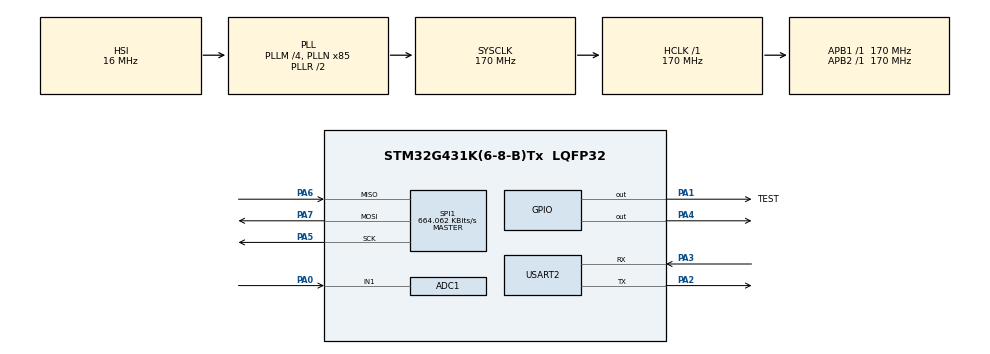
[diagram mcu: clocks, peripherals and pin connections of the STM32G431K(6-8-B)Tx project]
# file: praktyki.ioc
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ADC1.Channel-0\#ChannelRegularConversion=ADC_CHANNEL_1
ADC1.ContinuousConvMode=ENABLE
ADC1.DMAContinuousRequests=ENABLE
ADC1.NbrOfConversionFlag=1
ADC1.OffsetNumber-0\#ChannelRegularConversion=ADC_OFFSET_NONE
ADC1.Rank-0\#ChannelRegularConversion=1
ADC1.SamplingTime-0\#ChannelRegularConversion=ADC_SAMPLETIME_640CYCLES_5
ADC1.master=1
Dma.ADC1.0.Direction=DMA_PERIPH_TO_MEMORY
Dma.ADC1.0.EventEnable=DISABLE
Dma.ADC1.0.Instance=DMA1_Channel1
Dma.ADC1.0.MemDataAlignment=DMA_MDATAALIGN_HALFWORD
Dma.ADC1.0.MemInc=DMA_MINC_DISABLE
Dma.ADC1.0.Mode=DMA_CIRCULAR
Dma.ADC1.0.PeriphDataAlignment=DMA_PDATAALIGN_HALFWORD
Dma.ADC1.0.PeriphInc=DMA_PINC_DISABLE
Dma.ADC1.0.Polarity=HAL_DMAMUX_REQ_GEN_RISING
Dma.ADC1.0.Priority=DMA_PRIORITY_LOW
Dma.ADC1.0.RequestNumber=1
Dma.ADC1.0.SignalID=NONE
Dma.ADC1.0.SyncEnable=DISABLE
Dma.ADC1.0.SyncPolarity=HAL_DMAMUX_SYNC_NO_EVENT
Dma.ADC1.0.SyncRequestNumber=1
Dma.ADC1.0.SyncSignalID=NONE
Dma.Request0=ADC1
Mcu.Family=STM32G4
Mcu.Name=STM32G431K(6-8-B)Tx
Mcu.Package=LQFP32
NVIC.DMA1_Channel1_IRQn=true\:0\:0\:false\:false\:true\:false\:true\:true
NVIC.PriorityGroup=NVIC_PRIORITYGROUP_4
PA0.Signal=SharedAnalog_PA0
PA1.GPIO_Label=TEST
PA1.Signal=GPIO_Output
PA2.Mode=Asynchronous
PA2.Signal=USART2_TX
PA3.Mode=Asynchronous
PA3.Signal=USART2_RX
PA4.Signal=GPIO_Output
PA5.GPIO_Speed=GPIO_SPEED_FREQ_VERY_HIGH
PA5.Mode=Full_Duplex_Master
PA5.Signal=SPI1_SCK
PA6.Mode=Full_Duplex_Master
PA6.Signal=SPI1_MISO
PA7.GPIO_Speed=GPIO_SPEED_FREQ_VERY_HIGH
PA7.Mode=Full_Duplex_Master
PA7.Signal=SPI1_MOSI
ProjectManager.HeapSize=0x200
ProjectManager.StackSize=0x400
ProjectManager.TargetToolchain=STM32CubeIDE
RCC.ADC12Freq_Value=170000000
RCC.AHBFreq_Value=170000000
RCC.APB1Freq_Value=170000000
RCC.APB1TimFreq_Value=170000000
RCC.APB2Freq_Value=170000000
RCC.APB2TimFreq_Value=170000000
RCC.CortexFreq_Value=170000000
RCC.EXTERNAL_CLOCK_VALUE=12288000
RCC.HCLKFreq_Value=170000000
RCC.HSE_VALUE=8000000
RCC.HSI48_VALUE=48000000
RCC.HSI_VALUE=16000000
RCC.LSE_VALUE=32768
RCC.PLLM=RCC_PLLM_DIV4
RCC.PLLN=85
RCC.SYSCLKFreq_VALUE=170000000
RCC.SYSCLKSource=RCC_SYSCLKSOURCE_PLLCLK
RCC.USBFreq_Value=170000000
RCC.VCOOutputFreq_Value=340000000
SH.SharedAnalog_PA0.0=GPIO_Analog
SH.SharedAnalog_PA0.1=ADC1_IN1,IN1-Single-Ended
SPI1.BaudRatePrescaler=SPI_BAUDRATEPRESCALER_256
SPI1.CLKPhase=SPI_PHASE_2EDGE
SPI1.CLKPolarity=SPI_POLARITY_HIGH
SPI1.CalculateBaudRate=664.062 KBits/s
SPI1.DataSize=SPI_DATASIZE_8BIT
SPI1.Direction=SPI_DIRECTION_2LINES
SPI1.Mode=SPI_MODE_MASTER
SPI1.VirtualType=VM_MASTER
USART2.VirtualMode-Asynchronous=VM_ASYNC
VP_CRC_VS_CRC.Mode=CRC_Activate
VP_SYS_VS_DBSignals.Mode=DisableDeadBatterySignals
board=NUCLEO-G431KB

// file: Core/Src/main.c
/* USER CODE BEGIN Header */
/**
  ****************************************************************************
  * @file           : main.c
  * @brief          : Main program body
  ****************************************************************************
  * @attention
  *
  * Copyright (c) 2024 STMicroelectronics.
  * All rights reserved.
  *
  * This software is licensed under terms that can be found in the LICENSE file
  * in the root directory of this software component.
  * If no LICENSE file comes with this software, it is provided AS-IS.
  *
  ****************************************************************************
  */
/* USER CODE END Header */
#include "main.h"

/* USER CODE BEGIN Includes */
#include <stdbool.h>
#include <string.h>
#include <stdio.h>
#include <stdlib.h>

#include "lib_drive.h"
/* USER CODE END Includes */

ADC_HandleTypeDef hadc1;
DMA_HandleTypeDef hdma_adc1;

SPI_HandleTypeDef hspi1;

UART_HandleTypeDef huart2;

/* USER CODE BEGIN PV */
char tab[50];
uint32_t coef = 0;
uint32_t steps = 0;

/* USER CODE END PV */

void SystemClock_Config(void);
static void MX_GPIO_Init(void);
static void MX_DMA_Init(void);
static void MX_SPI1_Init(void);
static void MX_USART2_UART_Init(void);
static void MX_ADC1_Init(void);
static void MX_CRC_Init(void);

int main(void)
{

  /* MCU Configuration--------------------------------------------------------*/

  /* Reset of all peripherals, Initializes the Flash interface and the Systick. */
  HAL_Init();

  /* USER CODE BEGIN Init */
  EE_Init(EE_FORCED_ERASE);
  /* USER CODE END Init */

  /* Configure the system clock */
  SystemClock_Config();

  /* Initialize all configured peripherals */
  MX_GPIO_Init();
  MX_DMA_Init();
  MX_SPI1_Init();
  MX_USART2_UART_Init();
  MX_ADC1_Init();
  MX_CRC_Init();
  /* USER CODE BEGIN 2 */

  Initialisation();
//Run(30, forward);
//  Stop();
  char *ptab = tab;
  uint8_t isAlreadyStopped = 1;

  int adc = 0;
  HAL_ADC_Start_DMA(&hadc1, &adc, 1);

  /* USER CODE END 2 */

  /* Infinite loop */
  while (1)
  {

    /* USER CODE BEGIN 3 */

	  if(adc < 50)
	  {
		  if(isAlreadyStopped == 0)
		  		  {
		  			  //SoftStop
		  	          uint8_t msg1[1] = {0xb0};
		  	          SPI_TransmitWithDelay(&hspi1, msg1, 1, 1000, byte_delay);
		  	          HAL_Delay(2000);
		  	          //HardHiZ
		  	          uint8_t msg2[1] = {0xa8};
		  	          SPI_TransmitWithDelay(&hspi1, msg2, 1, 1000, byte_delay);
		  	          isAlreadyStopped = 1;

		  	          ptab = tab;
		  		  }
		  else
		  {
			  if(HAL_UART_Receive(&huart2, (uint8_t *)ptab, 1, 1000) == HAL_OK){

		            if (*ptab == '\r')
		            {
		                *ptab = '\0';
		                Commands(tab);
		                ptab = tab;
		            }
		            else
		            {
		                ptab++;
		                if (ptab >= tab + sizeof(tab))
		                {
		                    ptab = tab;
		                }
		            }
			  }

		  }
	  }
	  else
	  {
		  HAL_Delay(100);
		  Run(forward, adc*coef*0.01);
		  isAlreadyStopped = 0;

	  }
	  }

  /* USER CODE END 3 */
}

void SystemClock_Config(void)
{
  RCC_OscInitTypeDef RCC_OscInitStruct = {0};
  RCC_ClkInitTypeDef RCC_ClkInitStruct = {0};

  /** Configure the main internal regulator output voltage
  */
  HAL_PWREx_ControlVoltageScaling(PWR_REGULATOR_VOLTAGE_SCALE1_BOOST);

  /** Initializes the RCC Oscillators according to the specified parameters
  * in the RCC_OscInitTypeDef structure.
  */
  RCC_OscInitStruct.OscillatorType = RCC_OSCILLATORTYPE_HSI;
  RCC_OscInitStruct.HSIState = RCC_HSI_ON;
  RCC_OscInitStruct.HSICalibrationValue = RCC_HSICALIBRATION_DEFAULT;
  RCC_OscInitStruct.PLL.PLLState = RCC_PLL_ON;
  RCC_OscInitStruct.PLL.PLLSource = RCC_PLLSOURCE_HSI;
  RCC_OscInitStruct.PLL.PLLM = RCC_PLLM_DIV4;
  RCC_OscInitStruct.PLL.PLLN = 85;
  RCC_OscInitStruct.PLL.PLLP = RCC_PLLP_DIV2;
  RCC_OscInitStruct.PLL.PLLQ = RCC_PLLQ_DIV2;
  RCC_OscInitStruct.PLL.PLLR = RCC_PLLR_DIV2;
  if (HAL_RCC_OscConfig(&RCC_OscInitStruct) != HAL_OK)
  {
    Error_Handler();
  }

  /** Initializes the CPU, AHB and APB buses clocks
  */
  RCC_ClkInitStruct.ClockType = RCC_CLOCKTYPE_HCLK|RCC_CLOCKTYPE_SYSCLK
                              |RCC_CLOCKTYPE_PCLK1|RCC_CLOCKTYPE_PCLK2;
  RCC_ClkInitStruct.SYSCLKSource = RCC_SYSCLKSOURCE_PLLCLK;
  RCC_ClkInitStruct.AHBCLKDivider = RCC_SYSCLK_DIV1;
  RCC_ClkInitStruct.APB1CLKDivider = RCC_HCLK_DIV1;
  RCC_ClkInitStruct.APB2CLKDivider = RCC_HCLK_DIV1;

  if (HAL_RCC_ClockConfig(&RCC_ClkInitStruct, FLASH_LATENCY_4) != HAL_OK)
  {
    Error_Handler();
  }
}

static void MX_ADC1_Init(void)
{

  ADC_MultiModeTypeDef multimode = {0};
  ADC_ChannelConfTypeDef sConfig = {0};

  /** Common config
  */
  hadc1.Instance = ADC1;
  hadc1.Init.ClockPrescaler = ADC_CLOCK_SYNC_PCLK_DIV4;
  hadc1.Init.Resolution = ADC_RESOLUTION_12B;
  hadc1.Init.DataAlign = ADC_DATAALIGN_RIGHT;
  hadc1.Init.GainCompensation = 0;
  hadc1.Init.ScanConvMode = ADC_SCAN_DISABLE;
  hadc1.Init.EOCSelection = ADC_EOC_SINGLE_CONV;
  hadc1.Init.LowPowerAutoWait = DISABLE;
  hadc1.Init.ContinuousConvMode = ENABLE;
  hadc1.Init.NbrOfConversion = 1;
  hadc1.Init.DiscontinuousConvMode = DISABLE;
  hadc1.Init.ExternalTrigConv = ADC_SOFTWARE_START;
  hadc1.Init.ExternalTrigConvEdge = ADC_EXTERNALTRIGCONVEDGE_NONE;
  hadc1.Init.DMAContinuousRequests = ENABLE;
  hadc1.Init.Overrun = ADC_OVR_DATA_PRESERVED;
  hadc1.Init.OversamplingMode = DISABLE;
  if (HAL_ADC_Init(&hadc1) != HAL_OK)
  {
    Error_Handler();
  }

  /** Configure the ADC multi-mode
  */
  multimode.Mode = ADC_MODE_INDEPENDENT;
  if (HAL_ADCEx_MultiModeConfigChannel(&hadc1, &multimode) != HAL_OK)
  {
    Error_Handler();
  }

  /** Configure Regular Channel
  */
  sConfig.Channel = ADC_CHANNEL_1;
  sConfig.Rank = ADC_REGULAR_RANK_1;
  sConfig.SamplingTime = ADC_SAMPLETIME_640CYCLES_5;
  sConfig.SingleDiff = ADC_SINGLE_ENDED;
  sConfig.OffsetNumber = ADC_OFFSET_NONE;
  sConfig.Offset = 0;
  if (HAL_ADC_ConfigChannel(&hadc1, &sConfig) != HAL_OK)
  {
    Error_Handler();
  }

}

static void MX_CRC_Init(void)
{

  /* Peripheral clock enable */
  LL_AHB1_GRP1_EnableClock(LL_AHB1_GRP1_PERIPH_CRC);

  LL_CRC_SetInputDataReverseMode(CRC, LL_CRC_INDATA_REVERSE_NONE);
  LL_CRC_SetOutputDataReverseMode(CRC, LL_CRC_OUTDATA_REVERSE_NONE);
  LL_CRC_SetPolynomialCoef(CRC, LL_CRC_DEFAULT_CRC32_POLY);
  LL_CRC_SetPolynomialSize(CRC, LL_CRC_POLYLENGTH_32B);
  LL_CRC_SetInitialData(CRC, LL_CRC_DEFAULT_CRC_INITVALUE);

}

static void MX_SPI1_Init(void)
{

  /* SPI1 parameter configuration*/
  hspi1.Instance = SPI1;
  hspi1.Init.Mode = SPI_MODE_MASTER;
  hspi1.Init.Direction = SPI_DIRECTION_2LINES;
  hspi1.Init.DataSize = SPI_DATASIZE_8BIT;
  hspi1.Init.CLKPolarity = SPI_POLARITY_HIGH;
  hspi1.Init.CLKPhase = SPI_PHASE_2EDGE;
  hspi1.Init.NSS = SPI_NSS_SOFT;
  hspi1.Init.BaudRatePrescaler = SPI_BAUDRATEPRESCALER_256;
  hspi1.Init.FirstBit = SPI_FIRSTBIT_MSB;
  hspi1.Init.TIMode = SPI_TIMODE_DISABLE;
  hspi1.Init.CRCCalculation = SPI_CRCCALCULATION_DISABLE;
  hspi1.Init.CRCPolynomial = 7;
  hspi1.Init.CRCLength = SPI_CRC_LENGTH_DATASIZE;
  hspi1.Init.NSSPMode = SPI_NSS_PULSE_DISABLE;
  if (HAL_SPI_Init(&hspi1) != HAL_OK)
  {
    Error_Handler();
  }

}

static void MX_USART2_UART_Init(void)
{

  huart2.Instance = USART2;
  huart2.Init.BaudRate = 115200;
  huart2.Init.WordLength = UART_WORDLENGTH_8B;
  huart2.Init.StopBits = UART_STOPBITS_1;
  huart2.Init.Parity = UART_PARITY_NONE;
  huart2.Init.Mode = UART_MODE_TX_RX;
  huart2.Init.HwFlowCtl = UART_HWCONTROL_NONE;
  huart2.Init.OverSampling = UART_OVERSAMPLING_16;
  huart2.Init.OneBitSampling = UART_ONE_BIT_SAMPLE_DISABLE;
  huart2.Init.ClockPrescaler = UART_PRESCALER_DIV1;
  huart2.AdvancedInit.AdvFeatureInit = UART_ADVFEATURE_NO_INIT;
  if (HAL_UART_Init(&huart2) != HAL_OK)
  {
    Error_Handler();
  }
  if (HAL_UARTEx_SetTxFifoThreshold(&huart2, UART_TXFIFO_THRESHOLD_1_8) != HAL_OK)
  {
    Error_Handler();
  }
  if (HAL_UARTEx_SetRxFifoThreshold(&huart2, UART_RXFIFO_THRESHOLD_1_8) != HAL_OK)
  {
    Error_Handler();
  }
  if (HAL_UARTEx_DisableFifoMode(&huart2) != HAL_OK)
  {
    Error_Handler();
  }

}

static void MX_DMA_Init(void)
{

  /* DMA controller clock enable */
  __HAL_RCC_DMAMUX1_CLK_ENABLE();
  __HAL_RCC_DMA1_CLK_ENABLE();

  /* DMA interrupt init */
  /* DMA1_Channel1_IRQn interrupt configuration */
  HAL_NVIC_SetPriority(DMA1_Channel1_IRQn, 0, 0);
  HAL_NVIC_EnableIRQ(DMA1_Channel1_IRQn);

}

static void MX_GPIO_Init(void)
{
  GPIO_InitTypeDef GPIO_InitStruct = {0};

  /* GPIO Ports Clock Enable */
  __HAL_RCC_GPIOA_CLK_ENABLE();

  /*Configure GPIO pin Output Level */
  HAL_GPIO_WritePin(GPIOA, TEST_Pin|GPIO_PIN_4, GPIO_PIN_RESET);

  /*Configure GPIO pins : TEST_Pin PA4 */
  GPIO_InitStruct.Pin = TEST_Pin|GPIO_PIN_4;
  GPIO_InitStruct.Mode = GPIO_MODE_OUTPUT_PP;
  GPIO_InitStruct.Pull = GPIO_NOPULL;
  GPIO_InitStruct.Speed = GPIO_SPEED_FREQ_LOW;
  HAL_GPIO_Init(GPIOA, &GPIO_InitStruct);

}

void Error_Handler(void)
{
  __disable_irq();
  while (1)
  {
  }
}
